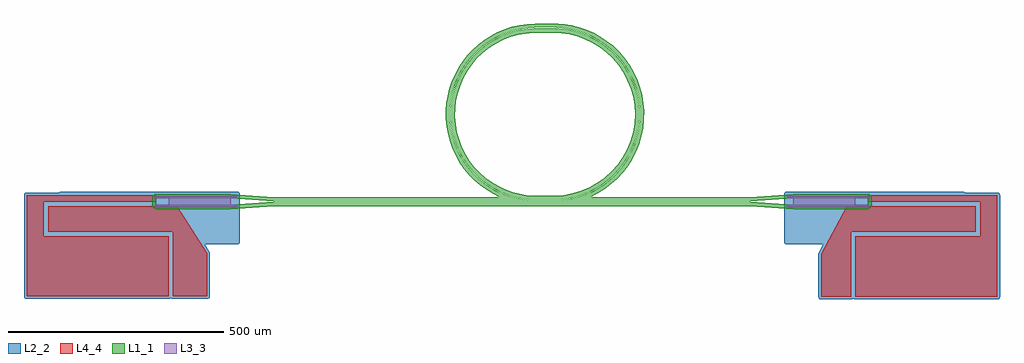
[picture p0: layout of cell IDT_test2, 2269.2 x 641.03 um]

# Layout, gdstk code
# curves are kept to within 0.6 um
import gdstk
lib = gdstk.Library(unit=1e-6, precision=1e-09)
def P(c, l, *ps):  # polygons
    for p in ps: c.add(gdstk.Polygon(p, *l))
L1_1 = (1, 1)
L2_2 = (2, 2)
L3_3 = (3, 3)
L4_4 = (4, 4)

idt_test2 = lib.new_cell('IDT_test2')
P(idt_test2, L1_1, [(-1552.58,-12.702),(-1557.944,-10.48),(-1561.169,-5.653),(-1561.552,13.23),(-1558.671,19.321),(-1555.427,21.489),(-1551.6,22.25),(-1378.8,22.25),(-1278.455,15.35),(-753.583,15.35),(-768.448,22.632),(-784.098,31.977),(-798.784,42.564),(-812.596,54.458),(-825.329,67.502),(-836.886,81.598),(-847.18,96.64),(-854.999,110.312),(-862.743,126.813),(-869.031,143.922),(-873.788,161.39),(-877.045,179.324),(-878.739,197.473),(-878.857,215.701),(-877.399,233.87),(-874.877,249.416),(-870.518,267.115),(-864.645,284.371),(-857.357,300.943),(-848.608,316.934),(-838.509,332.109),(-828.755,344.473),(-816.349,357.828),(-802.93,369.981),(-788.415,381.007),(-773.001,390.737),(-759.049,398.042),(-742.272,405.169),(-725,410.799),(-725,400.398),(-741.137,394.898),(-757.03,387.908),(-770.129,380.842),(-784.698,371.398),(-796.497,362.325),(-809.366,350.67),(-821.179,337.946),(-831.848,324.248),(-841.292,309.679),(-848.358,296.58),(-859.486,268.994),(-864.049,252.242),(-866.795,237.614),(-869,207.95),(-866.795,178.286),(-864.049,163.658),(-859.486,146.906),(-848.358,119.32),(-841.292,106.221),(-831.848,91.652),(-822.775,79.853),(-811.12,66.984),(-798.396,55.171),(-784.698,44.502),(-770.129,35.058),(-757.03,27.992),(-741.137,21.002),(-725,15.502),(-725,5.35),(-1278.8,5.35),(-1378.8,12.25),(-1551.6,12.25),(-1551.6,-2.75),(-1378.8,-2.75),(-1278.8,4.15),(-725,4.15),(-725,-5.85),(-1278.455,-5.85),(-1378.8,-12.75)],
  [(-707.309,414.924),(-689.266,417.514),(-671.067,418.533),(-618.047,418.295),(-602.48,416.949),(-587.055,414.452),(-569.354,410.103),(-552.095,404.24),(-535.407,396.907),(-519.416,388.158),(-504.241,378.059),(-489.904,366.604),(-474.993,352.236),(-463.014,338.334),(-451.01,321.462),(-441.859,305.698),(-434.057,289.087),(-427.769,271.978),(-422.451,251.966),(-419.417,233.993),(-417.943,215.701),(-418.199,194.996),(-420.125,176.746),(-424.196,156.444),(-429.455,138.862),(-436.174,121.918),(-445.552,103.457),(-455.272,88.037),(-466.369,73.42),(-480.363,58.159),(-493.966,45.84),(-510.535,33.422),(-526.176,23.824),(-543.217,15.35),(-171.545,15.35),(-71.2,22.25),(101.6,22.25),(105.427,21.489),(108.671,19.321),(110.839,16.077),(111.6,12.25),(111.6,-2.75),(110.839,-6.577),(107.156,-11.065),(101.6,-12.75),(-71.2,-12.75),(-171.545,-5.85),(-725,-5.85),(-725,4.15),(-171.2,4.15),(-71.2,-2.75),(101.6,-2.75),(101.6,12.25),(-71.2,12.25),(-171.2,5.35),(-725,5.35),(-725,15.502),(-700.516,9.938),(-675.842,7.488),(-620.958,7.488),(-593.838,10.35),(-572.101,15.412),(-553.356,21.916),(-535.346,30.239),(-518.245,40.301),(-500.303,53.575),(-482.237,70.558),(-466.403,89.639),(-454.263,108.367),(-443.308,130.611),(-435.862,151.651),(-430.8,173.388),(-428.045,198.03),(-428.183,220.348),(-431.242,244.954),(-437.314,268.994),(-446.304,292.102),(-458.077,313.924),(-472.452,334.127),(-489.21,352.403),(-506.118,366.971),(-528.817,382.087),(-551.061,393.042),(-574.487,401.169),(-598.736,406.345),(-623.438,408.489),(-678.32,408.305),(-702.962,405.55),(-725,400.398),(-725,410.799)],
  [(-668.4,8.55),(-688.098,9.525),(-707.603,12.442),(-726.725,17.271),(-747.546,24.93),(-765.239,33.644),(-784.002,45.48),(-799.487,57.695),(-813.689,71.379),(-826.469,86.4),(-837.704,102.61),(-847.282,119.85),(-855.11,137.952),(-861.112,156.739),(-865.608,178.463),(-867.556,198.089),(-867.556,217.811),(-865.608,237.437),(-861.73,256.774),(-855.961,275.634),(-848.358,293.831),(-838.994,311.188),(-827.961,327.536),(-813.689,344.521),(-799.487,358.205),(-784.002,370.42),(-765.239,382.256),(-747.546,390.97),(-729.079,397.893),(-710.018,402.958),(-690.551,406.116),(-673.332,407.289),(-648.419,407.35),(-648.419,397.283),(-675.426,397.219),(-694.089,395.6),(-710.219,392.675),(-728.263,387.641),(-745.721,380.848),(-762.423,372.364),(-778.205,362.272),(-792.913,350.67),(-806.402,337.671),(-818.542,323.404),(-829.213,308.007),(-838.311,291.632),(-845.746,274.438),(-851.447,256.593),(-855.357,238.273),(-857.279,221.993),(-857.742,203.265),(-856.353,184.584),(-853.125,166.131),(-848.091,148.087),(-841.298,130.629),(-832.814,113.927),(-824.068,100.062),(-812.649,85.212),(-799.818,71.563),(-787.532,60.71),(-772.404,49.661),(-756.259,40.161),(-741.421,33.192),(-723.8,26.834),(-707.931,22.722),(-691.766,19.997),(-677.767,18.782),(-648.419,18.659),(-648.419,8.55)],
  [(-648.4,8.55),(-648.419,18.659),(-626.057,18.565),(-605.034,19.997),(-584.299,23.756),(-564.111,29.795),(-544.718,38.039),(-526.361,48.387),(-509.268,60.71),(-493.648,74.855),(-479.697,90.648),(-467.587,107.893),(-457.467,126.376),(-449.464,145.869),(-443.675,166.131),(-440.172,186.91),(-439,207.95),(-440.172,228.99),(-443.675,249.769),(-448.709,267.813),(-456.471,287.404),(-466.362,306.011),(-476.841,321.538),(-490.398,337.671),(-505.662,352.199),(-520.512,363.618),(-538.473,374.639),(-555.379,382.708),(-573,389.066),(-591.163,393.653),(-609.69,396.423),(-648.419,397.283),(-648.419,407.35),(-608.702,406.375),(-589.197,403.458),(-570.075,398.629),(-551.524,391.935),(-533.724,383.44),(-516.852,373.229),(-501.07,361.402),(-486.534,348.072),(-473.385,333.373),(-461.754,317.446),(-451.752,300.448),(-443.479,282.545),(-437.014,263.912),(-432.422,244.732),(-429.975,227.648),(-429,207.95),(-429.975,188.252),(-432.422,171.168),(-437.014,151.988),(-443.479,133.355),(-451.752,115.452),(-461.754,98.454),(-473.385,82.527),(-486.534,67.828),(-501.07,54.498),(-516.852,42.671),(-533.724,32.46),(-551.524,23.965),(-570.075,17.271),(-589.197,12.442),(-606.249,9.784),(-623.468,8.611)])
P(idt_test2, L2_2, [(68.6,-219.815),(66.428,-221.792),(63.6,-222.5),(-6.4,-222.5),(-9.228,-221.792),(-11.389,-219.833),(-12.4,-216.5),(-12.371,-115.906),(-1.329,-94.5),(-86.4,-94.5),(-89.228,-93.792),(-91.389,-91.833),(-92.4,-88.5),(-92.4,21.5),(-91.692,24.328),(-89.733,26.489),(-86.4,27.5),(323.6,27.5),(328.063,25.5),(404.188,25.471),(408.589,22.833),(409.6,19.5),(409.6,-216.5),(408.892,-219.328),(406.933,-221.489),(403.6,-222.5),(73.6,-222.5),(70.772,-221.792)],
  [(-1778.063,25.5),(-1773.6,27.5),(-1361.858,27.242),(-1358.611,24.833),(-1357.6,21.5),(-1357.858,-90.242),(-1359.794,-93.138),(-1363.012,-94.471),(-1439.852,-94.5),(-1427.627,-114.934),(-1427.6,-215.5),(-1428.611,-218.833),(-1431.858,-221.242),(-1513.6,-221.5),(-1516.428,-220.792),(-1518.6,-218.815),(-1520.772,-220.792),(-1523.6,-221.5),(-1855.342,-221.242),(-1858.589,-218.833),(-1859.6,-215.5),(-1859.342,21.242),(-1857.406,24.138),(-1854.188,25.471)])
P(idt_test2, L3_3, [(-1498.6,-3),(-1498.6,11.75),(-1498.155,11.75),(-1498.155,-3),(-1496.8,-3),(-1496.8,11.75),(-1496.355,11.75),(-1496.355,-3),(-1495,-3),(-1495,11.75),(-1494.555,11.75),(-1494.555,-3),(-1493.2,-3),(-1493.2,11.75),(-1492.755,11.75),(-1492.755,-3),(-1491.4,-3),(-1491.4,11.75),(-1490.955,11.75),(-1490.955,-3),(-1489.6,-3),(-1489.6,11.75),(-1489.155,11.75),(-1489.155,-3),(-1487.8,-3),(-1487.8,11.75),(-1487.355,11.75),(-1487.355,-3),(-1486,-3),(-1486,11.75),(-1485.555,11.75),(-1485.555,-3),(-1484.2,-3),(-1484.2,11.75),(-1483.755,11.75),(-1483.755,-3),(-1482.4,-3),(-1482.4,11.75),(-1481.955,11.75),(-1481.955,-3),(-1480.6,-3),(-1480.6,11.75),(-1480.155,11.75),(-1480.155,-3),(-1478.8,-3),(-1478.8,11.75),(-1478.355,11.75),(-1478.355,-3),(-1477,-3),(-1477,11.75),(-1476.555,11.75),(-1476.555,-3),(-1475.2,-3),(-1475.2,11.75),(-1474.755,11.75),(-1474.755,-3),(-1473.4,-3),(-1473.4,11.75),(-1472.955,11.75),(-1472.955,-3),(-1471.6,-3),(-1471.6,11.75),(-1471.155,11.75),(-1471.155,-3),(-1469.8,-3),(-1469.8,11.75),(-1469.355,11.75),(-1469.355,-3),(-1468,-3),(-1468,11.75),(-1467.555,11.75),(-1467.555,-3),(-1466.2,-3),(-1466.2,11.75),(-1465.755,11.75),(-1465.755,-3),(-1464.4,-3),(-1464.4,11.75),(-1463.955,11.75),(-1463.955,-3),(-1462.6,-3),(-1462.6,11.75),(-1462.155,11.75),(-1462.155,-3),(-1460.8,-3),(-1460.8,11.75),(-1460.355,11.75),(-1460.355,-3),(-1459,-3),(-1459,11.75),(-1458.555,11.75),(-1458.555,-3),(-1457.2,-3),(-1457.2,11.75),(-1456.755,11.75),(-1456.755,-3),(-1455.4,-3),(-1455.4,11.75),(-1454.955,11.75),(-1454.955,-3),(-1453.6,-3),(-1453.6,11.75),(-1453.155,11.75),(-1453.155,-3),(-1451.8,-3),(-1451.8,11.75),(-1451.355,11.75),(-1451.355,-3),(-1450,-3),(-1450,11.75),(-1449.555,11.75),(-1449.555,-3),(-1448.2,-3),(-1448.2,11.75),(-1447.755,11.75),(-1447.755,-3),(-1446.4,-3),(-1446.4,11.75),(-1445.955,11.75),(-1445.955,-3),(-1444.6,-3),(-1444.6,11.75),(-1444.155,11.75),(-1444.155,-3),(-1442.8,-3),(-1442.8,11.75),(-1442.355,11.75),(-1442.355,-3),(-1441,-3),(-1441,11.75),(-1440.555,11.75),(-1440.555,-3),(-1439.2,-3),(-1439.2,11.75),(-1438.755,11.75),(-1438.755,-3),(-1437.4,-3),(-1437.4,11.75),(-1436.955,11.75),(-1436.955,-3),(-1435.6,-3),(-1435.6,11.75),(-1435.155,11.75),(-1435.155,-3),(-1433.8,-3),(-1433.8,11.75),(-1433.355,11.75),(-1433.355,-3),(-1432,-3),(-1432,11.75),(-1431.555,11.75),(-1431.555,-3),(-1430.2,-3),(-1430.2,11.75),(-1429.755,11.75),(-1429.755,-3),(-1428.4,-3),(-1428.4,11.75),(-1427.955,11.75),(-1427.955,-3),(-1426.6,-3),(-1426.6,11.75),(-1426.155,11.75),(-1426.155,-3),(-1424.8,-3),(-1424.8,11.75),(-1424.355,11.75),(-1424.355,-3),(-1423,-3),(-1423,11.75),(-1422.555,11.75),(-1422.555,-3),(-1421.2,-3),(-1421.2,11.75),(-1420.755,11.75),(-1420.755,-3),(-1419.4,-3),(-1419.4,11.75),(-1418.955,11.75),(-1418.955,-3),(-1417.6,-3),(-1417.6,11.75),(-1417.155,11.75),(-1417.155,-3),(-1415.8,-3),(-1415.8,11.75),(-1415.355,11.75),(-1415.355,-3),(-1414,-3),(-1414,11.75),(-1413.555,11.75),(-1413.555,-3),(-1412.2,-3),(-1412.2,11.75),(-1411.755,11.75),(-1411.755,-3),(-1410.4,-3),(-1410.4,11.75),(-1409.955,11.75),(-1409.955,-3),(-1408.6,-3),(-1408.6,11.75),(-1408.155,11.75),(-1408.155,-3),(-1406.8,-3),(-1406.8,11.75),(-1406.355,11.75),(-1406.355,-3),(-1405,-3),(-1405,11.75),(-1404.555,11.75),(-1404.555,-3),(-1403.2,-3),(-1403.2,11.75),(-1402.755,11.75),(-1402.755,-3),(-1401.4,-3),(-1401.4,11.75),(-1400.955,11.75),(-1400.955,-3),(-1399.6,-3),(-1399.6,11.75),(-1399.155,11.75),(-1399.155,-3),(-1397.8,-3),(-1397.8,11.75),(-1397.355,11.75),(-1397.355,-3),(-1396,-3),(-1396,11.75),(-1395.555,11.75),(-1395.555,-3),(-1394.2,-3),(-1394.2,11.75),(-1393.755,11.75),(-1393.755,-3),(-1392.4,-3),(-1392.4,11.75),(-1391.955,11.75),(-1391.955,-3),(-1390.6,-3),(-1390.6,11.75),(-1390.155,11.75),(-1390.155,-3),(-1388.8,-3),(-1388.8,11.75),(-1388.355,11.75),(-1388.355,-3),(-1387,-3),(-1387,11.75),(-1386.555,11.75),(-1386.555,-3),(-1385.2,-3),(-1385.2,11.75),(-1384.755,11.75),(-1384.755,-3),(-1383.4,-3),(-1383.4,11.75),(-1382.955,11.75),(-1382.955,-3),(-1381.6,-3),(-1381.6,11.75),(-1381.155,11.75),(-1381.155,-3),(-1379.8,-3),(-1379.8,11.75),(-1379.355,11.75),(-1379.355,-3),(-1363.6,-3),(-1363.6,-8),(-1555.6,-8),(-1555.6,-3),(-1522,-3),(-1522,11.75),(-1521.555,11.75),(-1521.555,-3),(-1520.2,-3),(-1520.2,11.75),(-1519.755,11.75),(-1519.755,-3),(-1518.4,-3),(-1518.4,11.75),(-1517.955,11.75),(-1517.955,-3),(-1516.6,-3),(-1516.6,11.75),(-1516.155,11.75),(-1516.155,-3),(-1514.8,-3),(-1514.8,11.75),(-1514.355,11.75),(-1514.355,-3),(-1513,-3),(-1513,11.75),(-1512.555,11.75),(-1512.555,-3),(-1511.2,-3),(-1511.2,11.75),(-1510.755,11.75),(-1510.755,-3),(-1509.4,-3),(-1509.4,11.75),(-1508.955,11.75),(-1508.955,-3),(-1507.6,-3),(-1507.6,11.75),(-1507.155,11.75),(-1507.155,-3),(-1505.8,-3),(-1505.8,11.75),(-1505.355,11.75),(-1505.355,-3),(-1504,-3),(-1504,11.75),(-1503.555,11.75),(-1503.555,-3),(-1502.2,-3),(-1502.2,11.75),(-1501.755,11.75),(-1501.755,-3),(-1500.4,-3),(-1500.4,11.75),(-1499.955,11.75),(-1499.955,-3),(-1498.6,-3)],
  [(-68.845,11.75),(-68.4,11.75),(-68.4,-3),(-67.045,-3),(-67.045,11.75),(-66.6,11.75),(-66.6,-3),(-65.245,-3),(-65.245,11.75),(-64.8,11.75),(-64.8,-3),(-63.445,-3),(-63.445,11.75),(-63,11.75),(-63,-3),(-61.645,-3),(-61.645,11.75),(-61.2,11.75),(-61.2,-3),(-59.845,-3),(-59.845,11.75),(-59.4,11.75),(-59.4,-3),(-58.045,-3),(-58.045,11.75),(-57.6,11.75),(-57.6,-3),(-56.245,-3),(-56.245,11.75),(-55.8,11.75),(-55.8,-3),(-54.445,-3),(-54.445,11.75),(-54,11.75),(-54,-3),(-52.645,-3),(-52.645,11.75),(-52.2,11.75),(-52.2,-3),(-50.845,-3),(-50.845,11.75),(-50.4,11.75),(-50.4,-3),(-49.045,-3),(-49.045,11.75),(-48.6,11.75),(-48.6,-3),(-47.245,-3),(-47.245,11.75),(-46.8,11.75),(-46.8,-3),(-45.445,-3),(-45.445,11.75),(-45,11.75),(-45,-3),(-43.645,-3),(-43.645,11.75),(-43.2,11.75),(-43.2,-3),(-41.845,-3),(-41.845,11.75),(-41.4,11.75),(-41.4,-3),(-40.045,-3),(-40.045,11.75),(-39.6,11.75),(-39.6,-3),(-38.245,-3),(-38.245,11.75),(-37.8,11.75),(-37.8,-3),(-36.445,-3),(-36.445,11.75),(-36,11.75),(-36,-3),(-34.645,-3),(-34.645,11.75),(-34.2,11.75),(-34.2,-3),(-32.845,-3),(-32.845,11.75),(-32.4,11.75),(-32.4,-3),(-31.045,-3),(-31.045,11.75),(-30.6,11.75),(-30.6,-3),(-29.245,-3),(-29.245,11.75),(-28.8,11.75),(-28.8,-3),(-27.445,-3),(-27.445,11.75),(-27,11.75),(-27,-3),(-25.645,-3),(-25.645,11.75),(-25.2,11.75),(-25.2,-3),(-23.845,-3),(-23.845,11.75),(-23.4,11.75),(-23.4,-3),(-22.045,-3),(-22.045,11.75),(-21.6,11.75),(-21.6,-3),(-20.245,-3),(-20.245,11.75),(-19.8,11.75),(-19.8,-3),(-18.445,-3),(-18.445,11.75),(-18,11.75),(-18,-3),(-16.645,-3),(-16.645,11.75),(-16.2,11.75),(-16.2,-3),(-14.845,-3),(-14.845,11.75),(-14.4,11.75),(-14.4,-3),(-13.045,-3),(-13.045,11.75),(-12.6,11.75),(-12.6,-3),(-11.245,-3),(-11.245,11.75),(-10.8,11.75),(-10.8,-3),(-9.445,-3),(-9.445,11.75),(-9,11.75),(-9,-3),(-7.645,-3),(-7.645,11.75),(-7.2,11.75),(-7.2,-3),(-5.845,-3),(-5.845,11.75),(-5.4,11.75),(-5.4,-3),(-4.045,-3),(-4.045,11.75),(-3.6,11.75),(-3.6,-3),(-2.245,-3),(-2.245,11.75),(-1.8,11.75),(-1.8,-3),(-0.445,-3),(-0.445,11.75),(0,11.75),(0,-3),(1.355,-3),(1.355,11.75),(1.8,11.75),(1.8,-3),(3.155,-3),(3.155,11.75),(3.6,11.75),(3.6,-3),(4.955,-3),(4.955,11.75),(5.4,11.75),(5.4,-3),(6.755,-3),(6.755,11.75),(7.2,11.75),(7.2,-3),(8.555,-3),(8.555,11.75),(9,11.75),(9,-3),(10.355,-3),(10.355,11.75),(10.8,11.75),(10.8,-3),(12.155,-3),(12.155,11.75),(12.6,11.75),(12.6,-3),(13.955,-3),(13.955,11.75),(14.4,11.75),(14.4,-3),(15.755,-3),(15.755,11.75),(16.2,11.75),(16.2,-3),(17.555,-3),(17.555,11.75),(18,11.75),(18,-3),(19.355,-3),(19.355,11.75),(19.8,11.75),(19.8,-3),(21.155,-3),(21.155,11.75),(21.6,11.75),(21.6,-3),(22.955,-3),(22.955,11.75),(23.4,11.75),(23.4,-3),(24.755,-3),(24.755,11.75),(25.2,11.75),(25.2,-3),(26.555,-3),(26.555,11.75),(27,11.75),(27,-3),(28.355,-3),(28.355,11.75),(28.8,11.75),(28.8,-3),(30.155,-3),(30.155,11.75),(30.6,11.75),(30.6,-3),(31.955,-3),(31.955,11.75),(32.4,11.75),(32.4,-3),(33.755,-3),(33.755,11.75),(34.2,11.75),(34.2,-3),(35.555,-3),(35.555,11.75),(36,11.75),(36,-3),(37.355,-3),(37.355,11.75),(37.8,11.75),(37.8,-3),(39.155,-3),(39.155,11.75),(39.6,11.75),(39.6,-3),(40.955,-3),(40.955,11.75),(41.4,11.75),(41.4,-3),(42.755,-3),(42.755,11.75),(43.2,11.75),(43.2,-3),(44.555,-3),(44.555,11.75),(45,11.75),(45,-3),(46.355,-3),(46.355,11.75),(46.8,11.75),(46.8,-3),(48.155,-3),(48.155,11.75),(48.6,11.75),(48.6,-3),(49.955,-3),(49.955,11.75),(50.4,11.75),(50.4,-3),(51.755,-3),(51.755,11.75),(52.2,11.75),(52.2,-3),(53.555,-3),(53.555,11.75),(54,11.75),(54,-3),(55.355,-3),(55.355,11.75),(55.8,11.75),(55.8,-3),(57.155,-3),(57.155,11.75),(57.6,11.75),(57.6,-3),(58.955,-3),(58.955,11.75),(59.4,11.75),(59.4,-3),(60.755,-3),(60.755,11.75),(61.2,11.75),(61.2,-3),(62.555,-3),(62.555,11.75),(63,11.75),(63,-3),(64.355,-3),(64.355,11.75),(64.8,11.75),(64.8,-3),(66.155,-3),(66.155,11.75),(66.6,11.75),(66.6,-3),(67.955,-3),(67.955,11.75),(68.4,11.75),(68.4,-3),(69.755,-3),(69.755,11.75),(70.2,11.75),(70.2,-3),(71.555,-3),(71.555,11.75),(72,11.75),(72,-3),(105.6,-3),(105.6,-8),(-86.4,-8),(-86.4,-3),(-70.645,-3),(-70.645,11.75),(-70.2,11.75),(-70.2,-3),(-68.845,-3),(-68.845,11.75)],
  [(-1495.455,-2.25),(-1495.9,-2.25),(-1495.9,12.5),(-1497.255,12.5),(-1497.255,-2.25),(-1497.7,-2.25),(-1497.7,12.5),(-1499.055,12.5),(-1499.055,-2.25),(-1499.5,-2.25),(-1499.5,12.5),(-1500.855,12.5),(-1500.855,-2.25),(-1501.3,-2.25),(-1501.3,12.5),(-1502.655,12.5),(-1502.655,-2.25),(-1503.1,-2.25),(-1503.1,12.5),(-1504.455,12.5),(-1504.455,-2.25),(-1504.9,-2.25),(-1504.9,12.5),(-1506.255,12.5),(-1506.255,-2.25),(-1506.7,-2.25),(-1506.7,12.5),(-1508.055,12.5),(-1508.055,-2.25),(-1508.5,-2.25),(-1508.5,12.5),(-1509.855,12.5),(-1509.855,-2.25),(-1510.3,-2.25),(-1510.3,12.5),(-1511.655,12.5),(-1511.655,-2.25),(-1512.1,-2.25),(-1512.1,12.5),(-1513.455,12.5),(-1513.455,-2.25),(-1513.9,-2.25),(-1513.9,12.5),(-1515.255,12.5),(-1515.255,-2.25),(-1515.7,-2.25),(-1515.7,12.5),(-1517.055,12.5),(-1517.055,-2.25),(-1517.5,-2.25),(-1517.5,12.5),(-1518.855,12.5),(-1518.855,-2.25),(-1519.3,-2.25),(-1519.3,12.5),(-1520.655,12.5),(-1520.655,-2.25),(-1521.1,-2.25),(-1521.1,12.5),(-1522.455,12.5),(-1522.455,-2.25),(-1522.9,-2.25),(-1522.9,12.5),(-1555.6,12.5),(-1555.6,17.5),(-1363.6,17.5),(-1363.6,12.5),(-1380.255,12.5),(-1380.255,-2.25),(-1380.7,-2.25),(-1380.7,12.5),(-1382.055,12.5),(-1382.055,-2.25),(-1382.5,-2.25),(-1382.5,12.5),(-1383.855,12.5),(-1383.855,-2.25),(-1384.3,-2.25),(-1384.3,12.5),(-1385.655,12.5),(-1385.655,-2.25),(-1386.1,-2.25),(-1386.1,12.5),(-1387.455,12.5),(-1387.455,-2.25),(-1387.9,-2.25),(-1387.9,12.5),(-1389.255,12.5),(-1389.255,-2.25),(-1389.7,-2.25),(-1389.7,12.5),(-1391.055,12.5),(-1391.055,-2.25),(-1391.5,-2.25),(-1391.5,12.5),(-1392.855,12.5),(-1392.855,-2.25),(-1393.3,-2.25),(-1393.3,12.5),(-1394.655,12.5),(-1394.655,-2.25),(-1395.1,-2.25),(-1395.1,12.5),(-1396.455,12.5),(-1396.455,-2.25),(-1396.9,-2.25),(-1396.9,12.5),(-1398.255,12.5),(-1398.255,-2.25),(-1398.7,-2.25),(-1398.7,12.5),(-1400.055,12.5),(-1400.055,-2.25),(-1400.5,-2.25),(-1400.5,12.5),(-1401.855,12.5),(-1401.855,-2.25),(-1402.3,-2.25),(-1402.3,12.5),(-1403.655,12.5),(-1403.655,-2.25),(-1404.1,-2.25),(-1404.1,12.5),(-1405.455,12.5),(-1405.455,-2.25),(-1405.9,-2.25),(-1405.9,12.5),(-1407.255,12.5),(-1407.255,-2.25),(-1407.7,-2.25),(-1407.7,12.5),(-1409.055,12.5),(-1409.055,-2.25),(-1409.5,-2.25),(-1409.5,12.5),(-1410.855,12.5),(-1410.855,-2.25),(-1411.3,-2.25),(-1411.3,12.5),(-1412.655,12.5),(-1412.655,-2.25),(-1413.1,-2.25),(-1413.1,12.5),(-1414.455,12.5),(-1414.455,-2.25),(-1414.9,-2.25),(-1414.9,12.5),(-1416.255,12.5),(-1416.255,-2.25),(-1416.7,-2.25),(-1416.7,12.5),(-1418.055,12.5),(-1418.055,-2.25),(-1418.5,-2.25),(-1418.5,12.5),(-1419.855,12.5),(-1419.855,-2.25),(-1420.3,-2.25),(-1420.3,12.5),(-1421.655,12.5),(-1421.655,-2.25),(-1422.1,-2.25),(-1422.1,12.5),(-1423.455,12.5),(-1423.455,-2.25),(-1423.9,-2.25),(-1423.9,12.5),(-1425.255,12.5),(-1425.255,-2.25),(-1425.7,-2.25),(-1425.7,12.5),(-1427.055,12.5),(-1427.055,-2.25),(-1427.5,-2.25),(-1427.5,12.5),(-1428.855,12.5),(-1428.855,-2.25),(-1429.3,-2.25),(-1429.3,12.5),(-1430.655,12.5),(-1430.655,-2.25),(-1431.1,-2.25),(-1431.1,12.5),(-1432.455,12.5),(-1432.455,-2.25),(-1432.9,-2.25),(-1432.9,12.5),(-1434.255,12.5),(-1434.255,-2.25),(-1434.7,-2.25),(-1434.7,12.5),(-1436.055,12.5),(-1436.055,-2.25),(-1436.5,-2.25),(-1436.5,12.5),(-1437.855,12.5),(-1437.855,-2.25),(-1438.3,-2.25),(-1438.3,12.5),(-1439.655,12.5),(-1439.655,-2.25),(-1440.1,-2.25),(-1440.1,12.5),(-1441.455,12.5),(-1441.455,-2.25),(-1441.9,-2.25),(-1441.9,12.5),(-1443.255,12.5),(-1443.255,-2.25),(-1443.7,-2.25),(-1443.7,12.5),(-1445.055,12.5),(-1445.055,-2.25),(-1445.5,-2.25),(-1445.5,12.5),(-1446.855,12.5),(-1446.855,-2.25),(-1447.3,-2.25),(-1447.3,12.5),(-1448.655,12.5),(-1448.655,-2.25),(-1449.1,-2.25),(-1449.1,12.5),(-1450.455,12.5),(-1450.455,-2.25),(-1450.9,-2.25),(-1450.9,12.5),(-1452.255,12.5),(-1452.255,-2.25),(-1452.7,-2.25),(-1452.7,12.5),(-1454.055,12.5),(-1454.055,-2.25),(-1454.5,-2.25),(-1454.5,12.5),(-1455.855,12.5),(-1455.855,-2.25),(-1456.3,-2.25),(-1456.3,12.5),(-1457.655,12.5),(-1457.655,-2.25),(-1458.1,-2.25),(-1458.1,12.5),(-1459.455,12.5),(-1459.455,-2.25),(-1459.9,-2.25),(-1459.9,12.5),(-1461.255,12.5),(-1461.255,-2.25),(-1461.7,-2.25),(-1461.7,12.5),(-1463.055,12.5),(-1463.055,-2.25),(-1463.5,-2.25),(-1463.5,12.5),(-1464.855,12.5),(-1464.855,-2.25),(-1465.3,-2.25),(-1465.3,12.5),(-1466.655,12.5),(-1466.655,-2.25),(-1467.1,-2.25),(-1467.1,12.5),(-1468.455,12.5),(-1468.455,-2.25),(-1468.9,-2.25),(-1468.9,12.5),(-1470.255,12.5),(-1470.255,-2.25),(-1470.7,-2.25),(-1470.7,12.5),(-1472.055,12.5),(-1472.055,-2.25),(-1472.5,-2.25),(-1472.5,12.5),(-1473.855,12.5),(-1473.855,-2.25),(-1474.3,-2.25),(-1474.3,12.5),(-1475.655,12.5),(-1475.655,-2.25),(-1476.1,-2.25),(-1476.1,12.5),(-1477.455,12.5),(-1477.455,-2.25),(-1477.9,-2.25),(-1477.9,12.5),(-1479.255,12.5),(-1479.255,-2.25),(-1479.7,-2.25),(-1479.7,12.5),(-1481.055,12.5),(-1481.055,-2.25),(-1481.5,-2.25),(-1481.5,12.5),(-1482.855,12.5),(-1482.855,-2.25),(-1483.3,-2.25),(-1483.3,12.5),(-1484.655,12.5),(-1484.655,-2.25),(-1485.1,-2.25),(-1485.1,12.5),(-1486.455,12.5),(-1486.455,-2.25),(-1486.9,-2.25),(-1486.9,12.5),(-1488.255,12.5),(-1488.255,-2.25),(-1488.7,-2.25),(-1488.7,12.5),(-1490.055,12.5),(-1490.055,-2.25),(-1490.5,-2.25),(-1490.5,12.5),(-1491.855,12.5),(-1491.855,-2.25),(-1492.3,-2.25),(-1492.3,12.5),(-1493.655,12.5),(-1493.655,-2.25),(-1494.1,-2.25),(-1494.1,12.5),(-1495.455,12.5),(-1495.455,-2.25)],
  [(-56.7,12.5),(-56.7,-2.25),(-57.145,-2.25),(-57.145,12.5),(-58.5,12.5),(-58.5,-2.25),(-58.945,-2.25),(-58.945,12.5),(-60.3,12.5),(-60.3,-2.25),(-60.745,-2.25),(-60.745,12.5),(-62.1,12.5),(-62.1,-2.25),(-62.545,-2.25),(-62.545,12.5),(-63.9,12.5),(-63.9,-2.25),(-64.345,-2.25),(-64.345,12.5),(-65.7,12.5),(-65.7,-2.25),(-66.145,-2.25),(-66.145,12.5),(-67.5,12.5),(-67.5,-2.25),(-67.945,-2.25),(-67.945,12.5),(-69.3,12.5),(-69.3,-2.25),(-69.745,-2.25),(-69.745,12.5),(-86.4,12.5),(-86.4,17.5),(105.6,17.5),(105.6,12.5),(72.9,12.5),(72.9,-2.25),(72.455,-2.25),(72.455,12.5),(71.1,12.5),(71.1,-2.25),(70.655,-2.25),(70.655,12.5),(69.3,12.5),(69.3,-2.25),(68.855,-2.25),(68.855,12.5),(67.5,12.5),(67.5,-2.25),(67.055,-2.25),(67.055,12.5),(65.7,12.5),(65.7,-2.25),(65.255,-2.25),(65.255,12.5),(63.9,12.5),(63.9,-2.25),(63.455,-2.25),(63.455,12.5),(62.1,12.5),(62.1,-2.25),(61.655,-2.25),(61.655,12.5),(60.3,12.5),(60.3,-2.25),(59.855,-2.25),(59.855,12.5),(58.5,12.5),(58.5,-2.25),(58.055,-2.25),(58.055,12.5),(56.7,12.5),(56.7,-2.25),(56.255,-2.25),(56.255,12.5),(54.9,12.5),(54.9,-2.25),(54.455,-2.25),(54.455,12.5),(53.1,12.5),(53.1,-2.25),(52.655,-2.25),(52.655,12.5),(51.3,12.5),(51.3,-2.25),(50.855,-2.25),(50.855,12.5),(49.5,12.5),(49.5,-2.25),(49.055,-2.25),(49.055,12.5),(47.7,12.5),(47.7,-2.25),(47.255,-2.25),(47.255,12.5),(45.9,12.5),(45.9,-2.25),(45.455,-2.25),(45.455,12.5),(44.1,12.5),(44.1,-2.25),(43.655,-2.25),(43.655,12.5),(42.3,12.5),(42.3,-2.25),(41.855,-2.25),(41.855,12.5),(40.5,12.5),(40.5,-2.25),(40.055,-2.25),(40.055,12.5),(38.7,12.5),(38.7,-2.25),(38.255,-2.25),(38.255,12.5),(36.9,12.5),(36.9,-2.25),(36.455,-2.25),(36.455,12.5),(35.1,12.5),(35.1,-2.25),(34.655,-2.25),(34.655,12.5),(33.3,12.5),(33.3,-2.25),(32.855,-2.25),(32.855,12.5),(31.5,12.5),(31.5,-2.25),(31.055,-2.25),(31.055,12.5),(29.7,12.5),(29.7,-2.25),(29.255,-2.25),(29.255,12.5),(27.9,12.5),(27.9,-2.25),(27.455,-2.25),(27.455,12.5),(26.1,12.5),(26.1,-2.25),(25.655,-2.25),(25.655,12.5),(24.3,12.5),(24.3,-2.25),(23.855,-2.25),(23.855,12.5),(22.5,12.5),(22.5,-2.25),(22.055,-2.25),(22.055,12.5),(20.7,12.5),(20.7,-2.25),(20.255,-2.25),(20.255,12.5),(18.9,12.5),(18.9,-2.25),(18.455,-2.25),(18.455,12.5),(17.1,12.5),(17.1,-2.25),(16.655,-2.25),(16.655,12.5),(15.3,12.5),(15.3,-2.25),(14.855,-2.25),(14.855,12.5),(13.5,12.5),(13.5,-2.25),(13.055,-2.25),(13.055,12.5),(11.7,12.5),(11.7,-2.25),(11.255,-2.25),(11.255,12.5),(9.9,12.5),(9.9,-2.25),(9.455,-2.25),(9.455,12.5),(8.1,12.5),(8.1,-2.25),(7.655,-2.25),(7.655,12.5),(6.3,12.5),(6.3,-2.25),(5.855,-2.25),(5.855,12.5),(4.5,12.5),(4.5,-2.25),(4.055,-2.25),(4.055,12.5),(2.7,12.5),(2.7,-2.25),(2.255,-2.25),(2.255,12.5),(0.9,12.5),(0.9,-2.25),(0.455,-2.25),(0.455,12.5),(-0.9,12.5),(-0.9,-2.25),(-1.345,-2.25),(-1.345,12.5),(-2.7,12.5),(-2.7,-2.25),(-3.145,-2.25),(-3.145,12.5),(-4.5,12.5),(-4.5,-2.25),(-4.945,-2.25),(-4.945,12.5),(-6.3,12.5),(-6.3,-2.25),(-6.745,-2.25),(-6.745,12.5),(-8.1,12.5),(-8.1,-2.25),(-8.545,-2.25),(-8.545,12.5),(-9.9,12.5),(-9.9,-2.25),(-10.345,-2.25),(-10.345,12.5),(-11.7,12.5),(-11.7,-2.25),(-12.145,-2.25),(-12.145,12.5),(-13.5,12.5),(-13.5,-2.25),(-13.945,-2.25),(-13.945,12.5),(-15.3,12.5),(-15.3,-2.25),(-15.745,-2.25),(-15.745,12.5),(-17.1,12.5),(-17.1,-2.25),(-17.545,-2.25),(-17.545,12.5),(-18.9,12.5),(-18.9,-2.25),(-19.345,-2.25),(-19.345,12.5),(-20.7,12.5),(-20.7,-2.25),(-21.145,-2.25),(-21.145,12.5),(-22.5,12.5),(-22.5,-2.25),(-22.945,-2.25),(-22.945,12.5),(-24.3,12.5),(-24.3,-2.25),(-24.745,-2.25),(-24.745,12.5),(-26.1,12.5),(-26.1,-2.25),(-26.545,-2.25),(-26.545,12.5),(-27.9,12.5),(-27.9,-2.25),(-28.345,-2.25),(-28.345,12.5),(-29.7,12.5),(-29.7,-2.25),(-30.145,-2.25),(-30.145,12.5),(-31.5,12.5),(-31.5,-2.25),(-31.945,-2.25),(-31.945,12.5),(-33.3,12.5),(-33.3,-2.25),(-33.745,-2.25),(-33.745,12.5),(-35.1,12.5),(-35.1,-2.25),(-35.545,-2.25),(-35.545,12.5),(-36.9,12.5),(-36.9,-2.25),(-37.345,-2.25),(-37.345,12.5),(-38.7,12.5),(-38.7,-2.25),(-39.145,-2.25),(-39.145,12.5),(-40.5,12.5),(-40.5,-2.25),(-40.945,-2.25),(-40.945,12.5),(-42.3,12.5),(-42.3,-2.25),(-42.745,-2.25),(-42.745,12.5),(-44.1,12.5),(-44.1,-2.25),(-44.545,-2.25),(-44.545,12.5),(-45.9,12.5),(-45.9,-2.25),(-46.345,-2.25),(-46.345,12.5),(-47.7,12.5),(-47.7,-2.25),(-48.145,-2.25),(-48.145,12.5),(-49.5,12.5),(-49.5,-2.25),(-49.945,-2.25),(-49.945,12.5),(-51.3,12.5),(-51.3,-2.25),(-51.745,-2.25),(-51.745,12.5),(-53.1,12.5),(-53.1,-2.25),(-53.545,-2.25),(-53.545,12.5),(-54.9,12.5),(-54.9,-2.25),(-55.345,-2.25),(-55.345,12.5),(-56.7,12.5)])
P(idt_test2, L4_4, [(63.6,-65.5),(63.6,-216.5),(-6.4,-216.5),(-6.4,-116.5),(53.6,-5.5),(353.6,-5.5),(353.6,-65.5),(63.6,-65.5)],
  [(-1513.6,-215.5),(-1513.6,-65.5),(-1803.6,-65.5),(-1803.6,-5.5),(-1503.6,-5.5),(-1433.6,-115.5),(-1433.6,-215.5),(-1513.6,-215.5)],
  [(73.6,-216.5),(73.6,-75.5),(363.6,-75.5),(363.6,4.5),(101.6,4.5),(101.6,19.5),(403.6,19.5),(403.6,-216.5),(73.6,-216.5)],
  [(-1813.6,-75.5),(-1523.6,-75.5),(-1523.6,-215.5),(-1853.6,-215.5),(-1853.6,19.5),(-1551.6,19.5),(-1551.6,4.5),(-1813.6,4.5),(-1813.6,-75.5)])

lib.write_gds('IDT_test2.gds')
